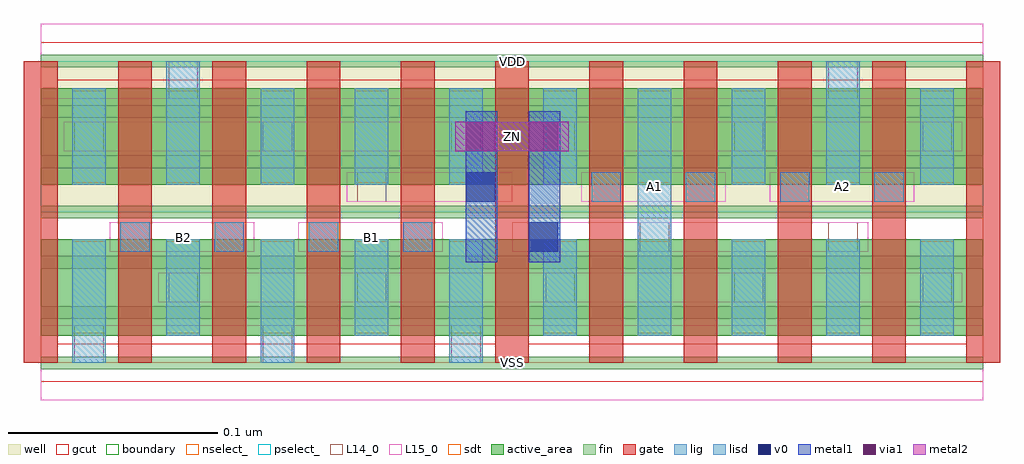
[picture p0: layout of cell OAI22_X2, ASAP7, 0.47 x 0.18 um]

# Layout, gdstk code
import gdstk
lib = gdstk.Library(unit=1e-6, precision=1e-09)
def R(c, l, rs):  # rectangles x0, y0, x1, y1
    for r in rs: c.add(gdstk.rectangle(r[:2], r[2:], *l))
def A(c, l, x, y, w, h, nx, ny, dx, dy):  # array of equal rectangles
    R(c, l, [(x+i*dx, y+j*dy, x+i*dx+w, y+j*dy+h) for i in range(nx) for j in range(ny)])
def P(c, l, *ps):  # polygons
    for p in ps: c.add(gdstk.Polygon(p, *l))
well = (1, 0)
fin = (2, 0)
gate = (7, 0)
gcut = (10, 0)
active_area = (11, 0)
nselect_ = (12, 0)
pselect_ = (13, 0)
L14_0 = (14, 0)
L15_0 = (15, 0)
lig = (16, 0)
lisd = (17, 0)
v0 = (18, 0)
metal1 = (19, 0)
metal2 = (20, 0)
via1 = (21, 0)
sdt = (88, 0)
boundary = (100, 0)

oai22_x2 = lib.new_cell('OAI22_X2')
R(oai22_x2, well, [(0,0.072,0.45,0.144)])
A(oai22_x2, fin, 0, -0.003, 0.45, 0.006, 1, 7, 0, 0.024)
A(oai22_x2, gate, -0.008, 0, 0.016, 0.144, 11, 1, 0.045, 0)
P(oai22_x2, gcut, [(0,-0.009),(0,0),(-0.008,0),(-0.008,0.135),(0.008,0.135),(0.008,0.009),(0.217,0.009),(0.217,0.135),(0.233,0.135),(0.233,0.009),(0.442,0.009),(0.442,0.135),(-0.008,0.135),(-0.008,0.144),(0,0.144),(0,0.153),(0.45,0.153),(0.45,0.144),(0.458,0.144),(0.458,0),(0.45,0),(0.45,-0.009)])
R(oai22_x2, active_area, [(0,0.013,0.45,0.059), (0,0.085,0.45,0.131)])
R(oai22_x2, nselect_, [(0,0,0.45,0.072)])
R(oai22_x2, pselect_, [(0,0.072,0.45,0.144)])
A(oai22_x2, L14_0, 0.016, 0, 0.014, 0.018, 3, 1, 0.09, 0)
A(oai22_x2, L14_0, 0.061, 0.029, 0.014, 0.014, 5, 1, 0.09, 0)
A(oai22_x2, L14_0, 0.038, 0.053, 0.014, 0.014, 4, 1, 0.045, 0)
A(oai22_x2, L14_0, 0.263, 0.077, 0.014, 0.014, 4, 1, 0.045, 0)
A(oai22_x2, L14_0, 0.016, 0.101, 0.014, 0.014, 3, 1, 0.09, 0)
A(oai22_x2, L14_0, 0.241, 0.101, 0.014, 0.014, 3, 1, 0.09, 0)
R(oai22_x2, L14_0, [(0.286,0.053,0.3,0.067), (0.376,0.053,0.39,0.067), (0.151,0.077,0.165,0.091), (0.061,0.126,0.075,0.144), (0.376,0.126,0.39,0.144)])
R(oai22_x2, L15_0, [(0,-0.018,0.45,0.018), (0.056,0.029,0.44,0.043), (0.033,0.053,0.102,0.067), (0.123,0.053,0.192,0.067), (0.225,0.053,0.395,0.067), (0.146,0.077,0.225,0.091), (0.258,0.077,0.327,0.091), (0.348,0.077,0.417,0.091), (0.011,0.101,0.215,0.115), (0.236,0.101,0.44,0.115), (0,0.126,0.45,0.162)])
A(oai22_x2, lig, 0.038, 0.053, 0.014, 0.014, 4, 1, 0.045, 0)
A(oai22_x2, lig, 0.263, 0.077, 0.014, 0.014, 4, 1, 0.045, 0)
A(oai22_x2, lisd, 0.015, 0, 0.016, 0.059, 3, 1, 0.09, 0)
A(oai22_x2, lisd, 0.06, 0.013, 0.016, 0.046, 4, 1, 0.09, 0)
A(oai22_x2, lisd, 0.105, 0.085, 0.016, 0.046, 4, 1, 0.045, 0)
R(oai22_x2, lisd, [(0.285,0.013,0.301,0.131), (0.375,0.013,0.391,0.059), (0.42,0.013,0.436,0.059), (0.015,0.085,0.031,0.131), (0.06,0.085,0.076,0.144), (0.33,0.085,0.346,0.131), (0.375,0.085,0.391,0.144), (0.42,0.085,0.436,0.131)])
R(oai22_x2, v0, [(0.233,0.053,0.247,0.067), (0.203,0.077,0.217,0.091)])
R(oai22_x2, metal1, [(0.203,0.048,0.218,0.12), (0.233,0.048,0.248,0.12)])
R(oai22_x2, metal2, [(0.198,0.101,0.252,0.115)])
R(oai22_x2, via1, [(0.203,0.101,0.217,0.115), (0.233,0.101,0.247,0.115)])
A(oai22_x2, sdt, 0.015, 0.014, 0.016, 0.044, 10, 2, 0.045, 0.072)
R(oai22_x2, boundary, [(0,0,0.45,0.144)])
oai22_x2.add(gdstk.Label('B1', (0.158,0.06), layer=15, texttype=251))
oai22_x2.add(gdstk.Label('VSS', (0.225,0), layer=15, texttype=251))
oai22_x2.add(gdstk.Label('VDD', (0.225,0.144), layer=15, texttype=251))
oai22_x2.add(gdstk.Label('A1', (0.293,0.084), layer=15, texttype=251))
oai22_x2.add(gdstk.Label('VSS', (0.225,0), layer=15, texttype=251))
oai22_x2.add(gdstk.Label('VDD', (0.225,0.144), layer=15, texttype=251))
oai22_x2.add(gdstk.Label('VSS', (0.225,0), layer=15, texttype=251))
oai22_x2.add(gdstk.Label('VDD', (0.225,0.144), layer=15, texttype=251))
oai22_x2.add(gdstk.Label('A2', (0.383,0.084), layer=15, texttype=251))
oai22_x2.add(gdstk.Label('VSS', (0.225,0), layer=15, texttype=251))
oai22_x2.add(gdstk.Label('VDD', (0.225,0.144), layer=15, texttype=251))
oai22_x2.add(gdstk.Label('B2', (0.068,0.06), layer=15, texttype=251))
oai22_x2.add(gdstk.Label('VSS', (0.225,0), layer=15, texttype=251))
oai22_x2.add(gdstk.Label('VDD', (0.225,0.144), layer=15, texttype=251))
oai22_x2.add(gdstk.Label('VSS', (0.225,0), layer=3, texttype=251))
oai22_x2.add(gdstk.Label('VSS', (0.225,0), layer=3, texttype=251))
oai22_x2.add(gdstk.Label('VSS', (0.225,0), layer=3, texttype=251))
oai22_x2.add(gdstk.Label('VSS', (0.225,0), layer=3, texttype=251))
oai22_x2.add(gdstk.Label('VSS', (0.225,0), layer=3, texttype=251))
oai22_x2.add(gdstk.Label('VDD', (0.225,0.144), layer=1, texttype=251))
oai22_x2.add(gdstk.Label('VDD', (0.225,0.144), layer=1, texttype=251))
oai22_x2.add(gdstk.Label('VDD', (0.225,0.144), layer=1, texttype=251))
oai22_x2.add(gdstk.Label('VDD', (0.225,0.144), layer=1, texttype=251))
oai22_x2.add(gdstk.Label('VDD', (0.225,0.144), layer=1, texttype=251))
oai22_x2.add(gdstk.Label('ZN', (0.225,0.108), layer=20, texttype=251))

lib.write_gds('OAI22_X2.gds')
